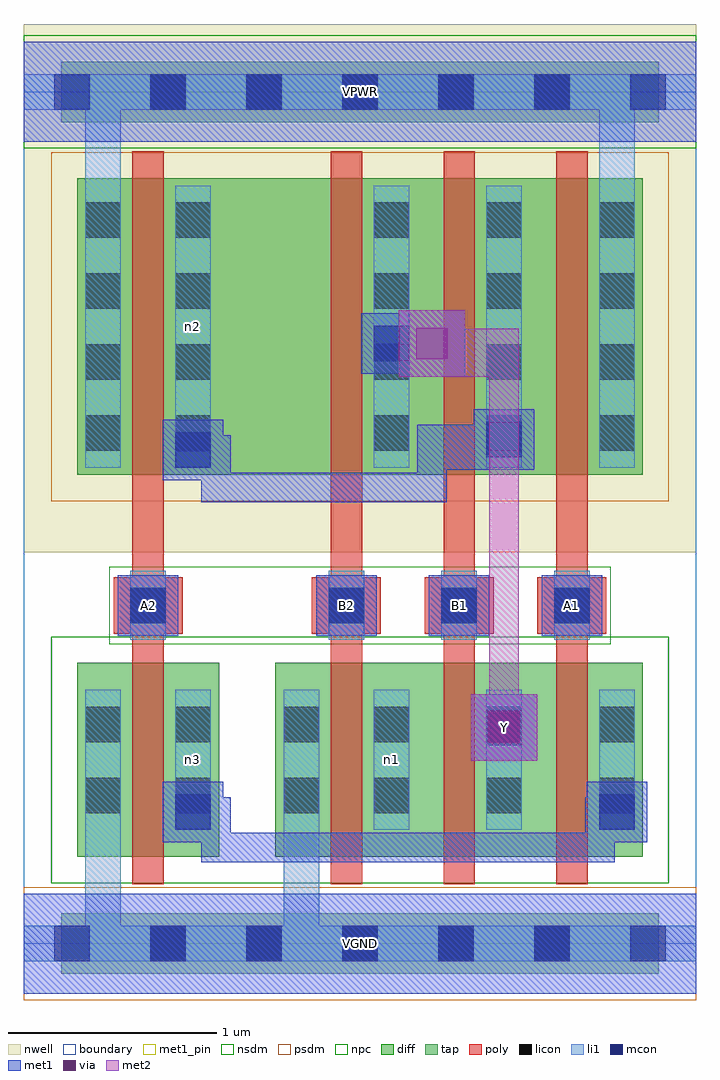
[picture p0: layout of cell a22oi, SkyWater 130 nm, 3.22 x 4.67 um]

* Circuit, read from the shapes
.subckt a22oi A1 A2 B1 B2 VGND VPWR Y n1 n2 n3
XM1 n3 A2 VGND VGND sky130_fd_pr__nfet_01v8 w=0.93 l=0.15
XM2 n1 B2 VGND VGND sky130_fd_pr__nfet_01v8 w=0.93 l=0.15
XM3 Y B1 n1 VGND sky130_fd_pr__nfet_01v8 w=0.93 l=0.15
XM4 n3 A1 Y VGND sky130_fd_pr__nfet_01v8 w=0.93 l=0.15
XM5 n2 A2 VPWR VPWR sky130_fd_pr__pfet_01v8 w=1.42 l=0.15
XM6 Y B2 n2 VPWR sky130_fd_pr__pfet_01v8 w=1.42 l=0.15
XM7 n2 B1 Y VPWR sky130_fd_pr__pfet_01v8 w=1.42 l=0.15
XM8 VPWR A1 n2 VPWR sky130_fd_pr__pfet_01v8 w=1.42 l=0.15
.ends

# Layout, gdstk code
import gdstk
lib = gdstk.Library(unit=1e-6, precision=1e-09)
def R(c, l, rs):  # rectangles x0, y0, x1, y1
    for r in rs: c.add(gdstk.rectangle(r[:2], r[2:], *l))
def A(c, l, x, y, w, h, nx, ny, dx, dy):  # array of equal rectangles
    R(c, l, [(x+i*dx, y+j*dy, x+i*dx+w, y+j*dy+h) for i in range(nx) for j in range(ny)])
nwell = (64, 20)
diff = (65, 20)
tap = (65, 44)
poly = (66, 20)
licon = (66, 44)
li1 = (67, 20)
mcon = (67, 44)
met1_pin = (68, 16)
met1 = (68, 20)
via = (68, 44)
met2 = (69, 20)
nsdm = (93, 44)
psdm = (94, 20)
npc = (95, 20)
boundary = (235, 4)

a22oi = lib.new_cell('a22oi')
R(a22oi, nwell, [(0,1.875,3.22,4.405)])
R(a22oi, diff, [(0.255,0.415,0.935,1.345), (1.205,0.415,2.965,1.345), (0.255,2.245,2.965,3.665)])
R(a22oi, tap, [(0.18,-0.145,3.04,0.145), (0.18,3.935,3.04,4.225)])
A(a22oi, poly, 1.47, 0.285, 0.15, 3.51, 3, 1, 0.54, 0)
A(a22oi, poly, 1.38, 1.485, 0.33, 0.27, 3, 1, 0.54, 0)
R(a22oi, poly, [(0.52,0.285,0.67,3.795), (0.43,1.485,0.76,1.755)])
A(a22oi, licon, 0.605, -0.085, 0.17, 0.17, 5, 2, 0.46, 4.08)
A(a22oi, licon, 1.675, 0.625, 0.17, 0.17, 3, 2, 0.54, 0.34)
A(a22oi, licon, 1.46, 1.535, 0.17, 0.17, 3, 1, 0.54, 0)
A(a22oi, licon, 0.295, 2.36, 0.17, 0.17, 1, 4, 0, 0.34)
A(a22oi, licon, 0.725, 2.36, 0.17, 0.17, 1, 4, 0, 0.34)
A(a22oi, licon, 1.675, 2.36, 0.17, 0.17, 3, 4, 0.54, 0.34)
R(a22oi, licon, [(0.295,0.625,0.465,0.795), (0.725,0.625,0.895,0.795), (1.245,0.625,1.415,0.795), (0.295,0.965,0.465,1.135), (0.725,0.965,0.895,1.135), (1.245,0.965,1.415,1.135), (0.51,1.535,0.68,1.705)])
A(a22oi, li1, 1.675, 0.545, 0.17, 0.67, 3, 1, 0.54, 0)
A(a22oi, li1, 1.46, 1.455, 0.17, 0.33, 3, 1, 0.54, 0)
A(a22oi, li1, 1.675, 2.28, 0.17, 1.35, 3, 1, 0.54, 0)
R(a22oi, li1, [(0,-0.085,3.22,0.085), (0.295,-0.085,0.465,1.215), (1.245,-0.085,1.415,1.215), (0.295,0.545,0.465,1.215), (0.725,0.545,0.895,1.215), (1.245,0.545,1.415,1.215), (0.51,1.455,0.68,1.785), (0.295,2.28,0.465,3.63), (0.295,2.28,0.465,4.165), (0.725,2.28,0.895,3.63), (2.755,2.28,2.925,4.165), (0,3.995,3.22,4.165)])
A(a22oi, mcon, 0.145, -0.085, 0.17, 0.17, 7, 2, 0.46, 4.08)
A(a22oi, mcon, 1.46, 1.535, 0.17, 0.17, 3, 1, 0.54, 0)
R(a22oi, mcon, [(0.725,0.545,0.895,0.715), (2.755,0.545,2.925,0.715), (2.215,0.95,2.385,1.12), (0.51,1.535,0.68,1.705), (0.725,2.28,0.895,2.45), (2.215,2.33,2.385,2.5), (1.675,2.79,1.845,2.96)])
A(a22oi, met1_pin, 1.4, 1.475, 0.29, 0.29, 3, 1, 0.54, 0)
R(a22oi, met1_pin, [(0,-0.24,3.22,0.24), (2.14,0.875,2.46,1.195), (0.45,1.475,0.74,1.765), (0,3.84,3.22,4.32)])
A(a22oi, met1, 1.4, 1.475, 0.29, 0.29, 3, 1, 0.54, 0)
R(a22oi, met1, [(0,-0.24,3.22,0.24), (0.85,0.39,0.99,0.7), (0.85,0.39,2.83,0.53), (2.69,0.39,2.83,0.7), (0.665,0.485,0.955,0.775), (2.695,0.485,2.985,0.775), (0.74,0.56,0.99,0.7), (2.69,0.56,2.91,0.7), (2.14,0.875,2.46,1.195), (2.155,0.89,2.445,1.18), (0.45,1.475,0.74,1.765), (0.85,2.115,0.99,2.435), (0.85,2.115,2.025,2.255), (1.885,2.115,2.025,2.485), (0.665,2.22,0.955,2.51), (2.025,2.27,2.155,2.485), (2.155,2.27,2.445,2.56), (0.74,2.295,0.99,2.435), (1.885,2.345,2.37,2.485), (1.795,2.715,2.115,3.035), (1.615,2.73,1.905,3.02), (1.69,2.805,2.025,2.945), (0,3.84,3.22,4.32)])
R(a22oi, via, [(2.225,0.96,2.375,1.11), (1.88,2.8,2.03,2.95)])
R(a22oi, met2, [(2.14,0.875,2.46,1.195), (2.23,0.965,2.37,2.945), (1.795,2.715,2.115,3.035), (2.115,2.715,2.23,2.945), (1.885,2.805,2.37,2.945)])
R(a22oi, nsdm, [(0.13,0.29,3.09,1.47), (0,3.81,3.22,4.35)])
R(a22oi, psdm, [(0,-0.27,3.22,0.27), (0.13,2.12,3.09,3.79)])
R(a22oi, npc, [(0.41,1.435,2.81,1.805)])
R(a22oi, boundary, [(0,0,3.22,4.08)])
a22oi.add(gdstk.Label('n2', (0.81,2.955), layer=67, texttype=5))
a22oi.add(gdstk.Label('n3', (0.81,0.88), layer=67, texttype=5))
a22oi.add(gdstk.Label('n1', (1.76,0.88), layer=67, texttype=5))
a22oi.add(gdstk.Label('A1', (2.625,1.62), layer=68, texttype=5))
a22oi.add(gdstk.Label('A2', (0.595,1.62), layer=68, texttype=5))
a22oi.add(gdstk.Label('B1', (2.085,1.62), layer=68, texttype=5))
a22oi.add(gdstk.Label('B2', (1.545,1.62), layer=68, texttype=5))
a22oi.add(gdstk.Label('Y', (2.3,1.035), layer=68, texttype=5))
a22oi.add(gdstk.Label('VPWR', (1.61,4.08), layer=68, texttype=5))
a22oi.add(gdstk.Label('VGND', (1.61,0), layer=68, texttype=5))
a22oi.add(gdstk.Label('A1', (2.625,1.62), layer=68, texttype=16))
a22oi.add(gdstk.Label('A2', (0.595,1.62), layer=68, texttype=16))
a22oi.add(gdstk.Label('B1', (2.085,1.62), layer=68, texttype=16))
a22oi.add(gdstk.Label('B2', (1.545,1.62), layer=68, texttype=16))
a22oi.add(gdstk.Label('Y', (2.3,1.035), layer=68, texttype=16))
a22oi.add(gdstk.Label('VPWR', (1.61,4.08), layer=68, texttype=16))
a22oi.add(gdstk.Label('VGND', (1.61,0), layer=68, texttype=16))

lib.write_gds('a22oi.gds')
